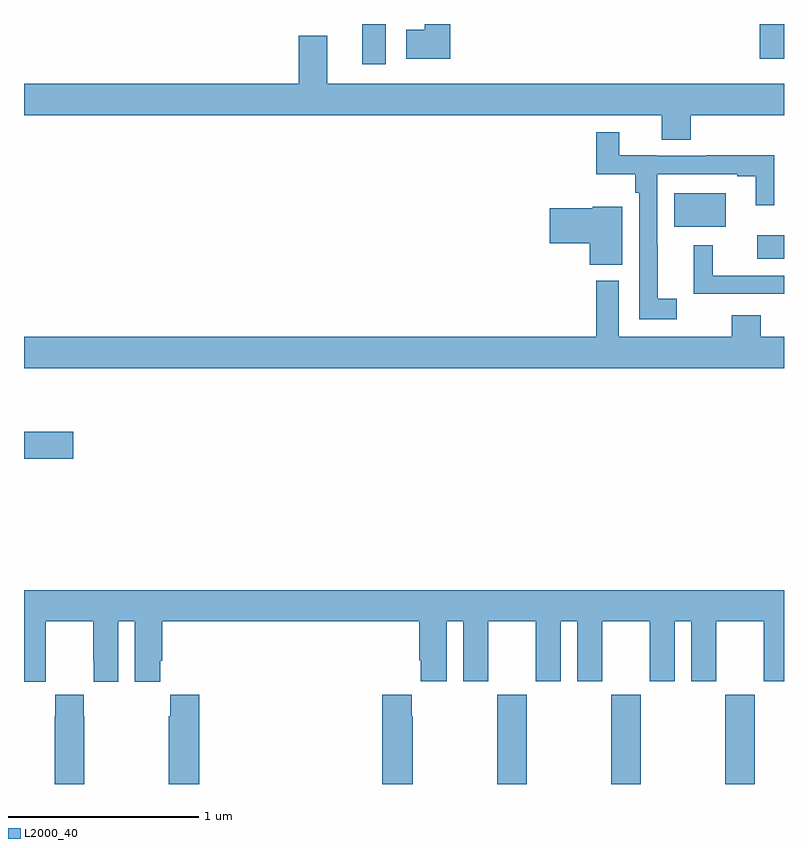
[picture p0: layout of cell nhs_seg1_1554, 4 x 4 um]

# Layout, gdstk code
import gdstk
lib = gdstk.Library(unit=1e-6, precision=1e-09)
def R(c, l, rs):  # rectangles x0, y0, x1, y1
    for r in rs: c.add(gdstk.rectangle(r[:2], r[2:], *l))
def A(c, l, x, y, w, h, nx, ny, dx, dy):  # array of equal rectangles
    R(c, l, [(x+i*dx, y+j*dy, x+i*dx+w, y+j*dy+h) for i in range(nx) for j in range(ny)])
def P(c, l, *ps):  # polygons
    for p in ps: c.add(gdstk.Polygon(p, *l))
L2000_40 = (2000, 40)

nhs_seg1_1554 = lib.new_cell('nhs_seg1_1554')
A(nhs_seg1_1554, L2000_40, 197.491, 560.199, 0.155, 0.469, 3, 1, 0.6, 0)
R(nhs_seg1_1554, L2000_40, [(195,561.911,195.259,562.053), (198.858,562.964,199,563.086), (198.422,563.132,198.694,563.308), (196.781,563.988,196.903,564.199), (198.872,564.017,199,564.199)])
P(nhs_seg1_1554, L2000_40, [(197.243,564.199),(197.108,564.199),(197.108,564.169),(197.013,564.169),(197.013,564.017),(197.243,564.017)],
  [(198.509,563.72),(199,563.72),(199,563.884),(196.597,563.884),(196.597,564.136),(196.445,564.136),(196.445,563.884),(195,563.884),(195,563.72),(198.356,563.72),(198.356,563.59),(198.509,563.59)],
  [(198.436,562.753),(198.335,562.753),(198.335,563.036),(198.333,563.036),(198.333,563.409),(198.755,563.409),(198.755,563.397),(198.851,563.397),(198.851,563.244),(198.948,563.244),(198.948,563.507),(198.592,563.507),(198.592,563.505),(198.33,563.505),(198.33,563.507),(198.132,563.507),(198.132,563.629),(198.013,563.629),(198.013,563.408),(198.217,563.408),(198.217,563.312),(198.237,563.312),(198.237,562.644),(198.436,562.644)],
  [(198.148,563.236),(197.994,563.236),(197.994,563.228),(197.766,563.228),(197.766,563.045),(197.978,563.045),(197.978,562.933),(198.148,562.933)],
  [(199,562.875),(198.624,562.875),(198.624,563.035),(198.524,563.035),(198.524,562.779),(199,562.779)],
  [(199,562.552),(198.878,562.552),(198.878,562.666),(198.725,562.666),(198.725,562.552),(198.129,562.552),(198.129,562.848),(198.013,562.848),(198.013,562.552),(195,562.552),(195,562.388),(199,562.388)],
  [(195.114,560.848),(195.115,560.848),(195.115,561.056),(195.365,561.056),(195.365,560.848),(195.366,560.848),(195.366,560.736),(195.496,560.736),(195.496,561.056),(195.584,561.056),(195.584,560.736),(195.718,560.736),(195.718,560.848),(195.728,560.848),(195.728,561.056),(197.081,561.056),(197.081,560.851),(197.087,560.851),(197.087,560.739),(197.224,560.739),(197.224,561.056),(197.312,561.056),(197.312,560.739),(197.443,560.739),(197.443,561.056),(197.693,561.056),(197.693,560.739),(197.824,560.739),(197.824,561.056),(197.912,561.056),(197.912,560.739),(198.043,560.739),(198.043,561.056),(198.293,561.056),(198.293,560.739),(198.424,560.739),(198.424,561.056),(198.512,561.056),(198.512,560.739),(198.643,560.739),(198.643,561.056),(198.893,561.056),(198.893,560.739),(199,560.739),(199,561.22),(195,561.22),(195,560.736),(195.114,560.736)],
  [(195.318,560.555),(195.315,560.555),(195.315,560.668),(195.165,560.668),(195.165,560.555),(195.163,560.555),(195.163,560.199),(195.318,560.199)],
  [(197.046,560.555),(197.041,560.555),(197.041,560.668),(196.886,560.668),(196.886,560.199),(197.046,560.199)],
  [(195.923,560.668),(195.769,560.668),(195.769,560.555),(195.763,560.555),(195.763,560.199),(195.923,560.199)])

lib.write_gds('nhs_seg1_1554.gds')
